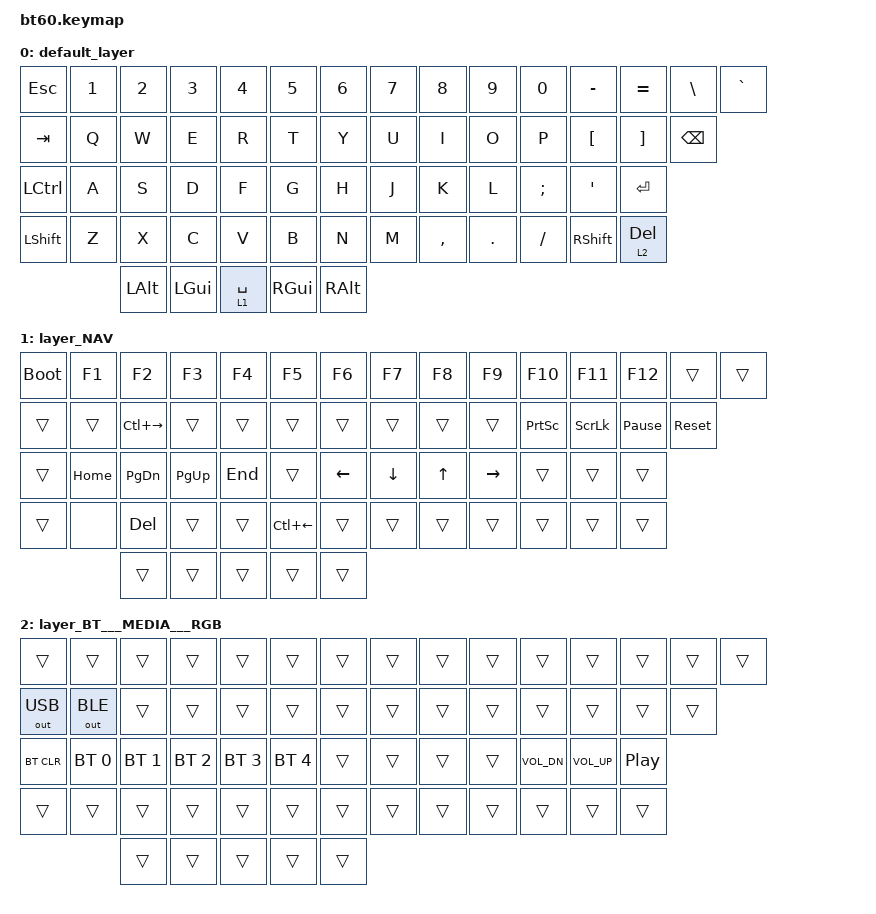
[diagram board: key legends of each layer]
/*
 * Copyright (c) 2020 The ZMK Contributors
 *
 * SPDX-License-Identifier: MIT
 */
/* THIS FILE WAS GENERATED!
 *
 * This file was generated automatically. You may or may not want to
 * edit it directly.
 */

#include <behaviors.dtsi>
#include <dt-bindings/zmk/keys.h>
#include <dt-bindings/zmk/outputs.h>
#include <dt-bindings/zmk/bt.h>

/ {
    keymap {
        compatible = "zmk,keymap";

        default_layer {
            bindings = <
  &kp ESC  &kp N1    &kp N2    &kp N3       &kp N4    &kp N5    &kp N6  &kp N7     &kp N8   &kp N9    &kp N0  &kp MINUS  &kp EQUAL  &kp BSLH  &kp GRAVE
  &kp TAB   &kp Q     &kp W     &kp E        &kp R     &kp T     &kp Y   &kp U      &kp I    &kp O     &kp P   &kp LBKT   &kp RBKT  &kp BSPC
&kp LCTRL   &kp A     &kp S     &kp D        &kp F     &kp G     &kp H   &kp J      &kp K    &kp L  &kp SEMI    &kp SQT    &kp RET
&kp LSHFT   &kp Z     &kp X     &kp C        &kp V     &kp B     &kp N   &kp M  &kp COMMA  &kp DOT  &kp FSLH  &kp RSHFT  &lt 2 DEL
                   &kp LALT  &kp LGUI  &lt 1 SPACE  &kp RGUI  &kp RALT
            >;
        };

        layer_NAV {
            bindings = <
&bootloader    &kp F1         &kp F2     &kp F3   &kp F4        &kp F5    &kp F6    &kp F7  &kp F8     &kp F9    &kp F10   &kp F11          &kp F12      &trans  &trans
     &trans    &trans  &kp LC(RIGHT)     &trans   &trans        &trans    &trans    &trans  &trans     &trans  &kp PSCRN  &kp SLCK  &kp PAUSE_BREAK  &sys_reset
     &trans  &kp HOME      &kp PG_DN  &kp PG_UP  &kp END        &trans  &kp LEFT  &kp DOWN  &kp UP  &kp RIGHT     &trans    &trans           &trans
     &trans     &none        &kp DEL     &trans   &trans  &kp LC(LEFT)    &trans    &trans  &trans     &trans     &trans    &trans           &trans
                              &trans     &trans   &trans        &trans    &trans
            >;
        };

        layer_BT___MEDIA___RGB {
            bindings = <
      &trans        &trans        &trans        &trans        &trans        &trans  &trans  &trans  &trans  &trans        &trans        &trans            &trans  &trans  &trans
&out OUT_USB  &out OUT_BLE        &trans        &trans        &trans        &trans  &trans  &trans  &trans  &trans        &trans        &trans            &trans  &trans
  &bt BT_CLR  &bt BT_SEL 0  &bt BT_SEL 1  &bt BT_SEL 2  &bt BT_SEL 3  &bt BT_SEL 4  &trans  &trans  &trans  &trans  &kp C_VOL_DN  &kp C_VOL_UP  &kp C_PLAY_PAUSE
      &trans        &trans        &trans        &trans        &trans        &trans  &trans  &trans  &trans  &trans        &trans        &trans            &trans
                                  &trans        &trans        &trans        &trans  &trans
            >;
        };
    };
};
